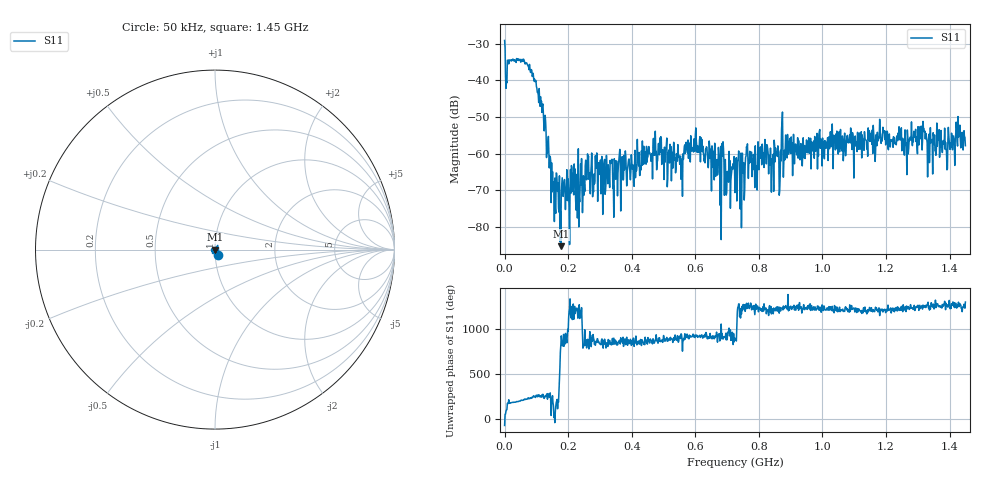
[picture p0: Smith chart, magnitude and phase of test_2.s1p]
! Created with skrf 1.11.0 (http://scikit-rf.org).
# Hz S RI R 50.0
!freq ReS11 ImS11
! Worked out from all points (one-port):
!   1001 points, 50 kHz to 1.45 GHz, reference 50 ohm
!   lowest |S11| = -85.3 dB at 176.9 MHz (marker M1), VSWR 1.00, Z = 50 + j0.0054 ohm
!   |S11| at or under -10 dB: start of sweep to end of sweep
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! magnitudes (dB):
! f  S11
! 50 kHz  -29.1
! 91.4 MHz  -39.4
! 123.3 MHz  -51.8
! 153.7 MHz  -67.8
! 176.9 MHz  -85.3
! 181.3 MHz  -66.6
! 214.6 MHz  -65.4
! 230.6 MHz  -70.7
! 261 MHz  -60.1
! 362.5 MHz  -58.8
! 490.1 MHz  -59.6
! 543.8 MHz  -62.0
! 607.6 MHz  -57.9
! 697.5 MHz  -71.3
! 725 MHz  -70.6
! 748.2 MHz  -59.9
! 765.6 MHz  -61.4
! 787.4 MHz  -69.3
! 803.3 MHz  -59.6
! 839.6 MHz  -70.5
! 855.5 MHz  -59.6
! 906.3 MHz  -66.0
! 1.088 GHz  -57.1
! 1.269 GHz  -55.5
! 1.318 GHz  -53.2
! 1.398 GHz  -55.2
! 1.425 GHz  -57.9
! 1.45 GHz  -57.8
